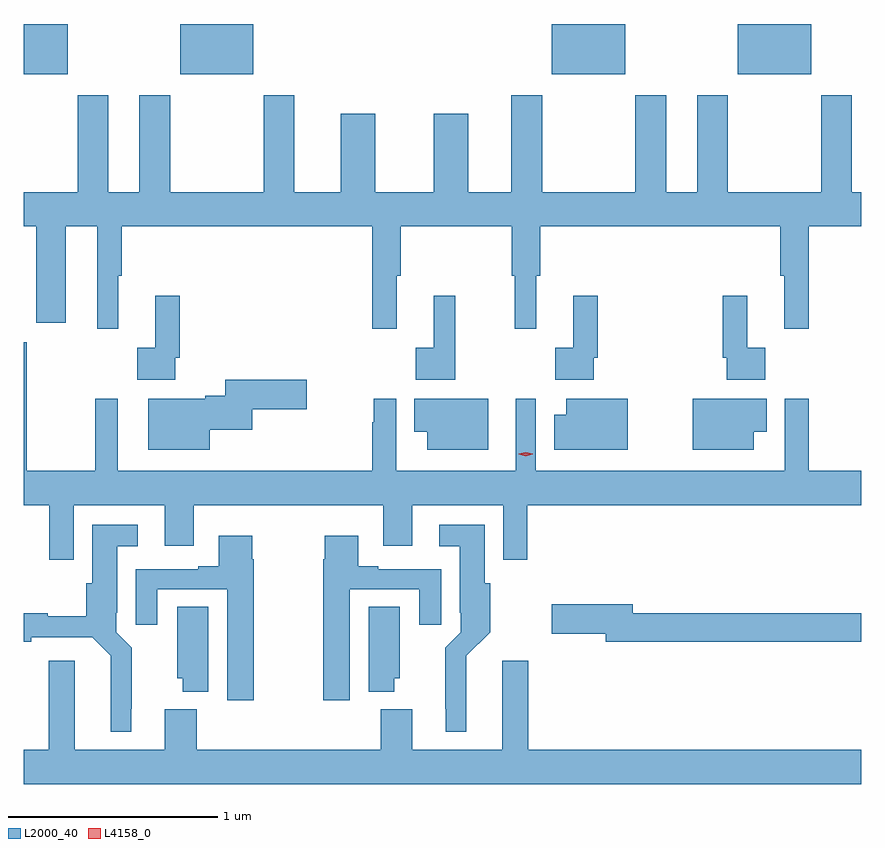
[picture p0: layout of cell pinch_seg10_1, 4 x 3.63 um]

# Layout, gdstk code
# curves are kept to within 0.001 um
import gdstk
lib = gdstk.Library(unit=1e-6, precision=1e-09)
def R(c, l, rs):  # rectangles x0, y0, x1, y1
    for r in rs: c.add(gdstk.rectangle(r[:2], r[2:], *l))
def P(c, l, *ps):  # polygons
    for p in ps: c.add(gdstk.Polygon(p, *l))
L2000_40 = (2000, 40)
L4158_0 = (4158, 0)

pinch_seg10_1 = lib.new_cell('pinch_seg10_1')
R(pinch_seg10_1, L2000_40, [(1136.741,1263.746,1136.95,1263.987), (1137.488,1263.746,1137.838,1263.987), (1139.264,1263.746,1139.614,1263.987), (1140.152,1263.746,1140.502,1263.987)])
P(pinch_seg10_1, L2000_40, [(1137.191,1262.784),(1137.209,1262.784),(1137.209,1263.02),(1138.405,1263.02),(1138.405,1262.532),(1138.523,1262.532),(1138.523,1262.784),(1138.541,1262.784),(1138.541,1263.02),(1139.071,1263.02),(1139.071,1262.784),(1139.086,1262.784),(1139.086,1262.532),(1139.189,1262.532),(1139.189,1262.784),(1139.207,1262.784),(1139.207,1263.02),(1140.355,1263.02),(1140.355,1262.784),(1140.374,1262.784),(1140.374,1262.532),(1140.491,1262.532),(1140.491,1263.02),(1140.741,1263.02),(1140.741,1263.184),(1140.697,1263.184),(1140.697,1263.646),(1140.55,1263.646),(1140.55,1263.184),(1140.105,1263.184),(1140.105,1263.646),(1139.957,1263.646),(1139.957,1263.184),(1139.809,1263.184),(1139.809,1263.646),(1139.662,1263.646),(1139.662,1263.184),(1139.217,1263.184),(1139.217,1263.646),(1139.069,1263.646),(1139.069,1263.184),(1138.864,1263.184),(1138.864,1263.559),(1138.7,1263.559),(1138.7,1263.184),(1138.42,1263.184),(1138.42,1263.559),(1138.256,1263.559),(1138.256,1263.184),(1138.033,1263.184),(1138.033,1263.646),(1137.886,1263.646),(1137.886,1263.184),(1137.441,1263.184),(1137.441,1263.646),(1137.293,1263.646),(1137.293,1263.184),(1137.145,1263.184),(1137.145,1263.646),(1136.998,1263.646),(1136.998,1263.184),(1136.741,1263.184),(1136.741,1263.02),(1136.801,1263.02),(1136.801,1262.559),(1136.941,1262.559),(1136.941,1263.02),(1137.092,1263.02),(1137.092,1262.532),(1137.191,1262.532)],
  [(1140.283,1262.441),(1140.197,1262.441),(1140.197,1262.689),(1140.079,1262.689),(1140.079,1262.392),(1140.099,1262.392),(1140.099,1262.288),(1140.283,1262.288)],
  [(1137.465,1262.392),(1137.485,1262.392),(1137.485,1262.689),(1137.368,1262.689),(1137.368,1262.441),(1137.282,1262.441),(1137.282,1262.288),(1137.465,1262.288)],
  [(1138.802,1262.689),(1138.7,1262.689),(1138.7,1262.441),(1138.614,1262.441),(1138.614,1262.288),(1138.802,1262.288)],
  [(1139.463,1262.392),(1139.483,1262.392),(1139.483,1262.689),(1139.366,1262.689),(1139.366,1262.441),(1139.28,1262.441),(1139.28,1262.288),(1139.463,1262.288)],
  [(1136.979,1261.688),(1137.413,1261.688),(1137.413,1261.494),(1137.553,1261.494),(1137.553,1261.688),(1138.457,1261.688),(1138.457,1261.494),(1138.597,1261.494),(1138.597,1261.688),(1139.031,1261.688),(1139.031,1261.428),(1139.147,1261.428),(1139.147,1261.688),(1140.741,1261.688),(1140.741,1261.852),(1140.491,1261.852),(1140.491,1262.197),(1140.375,1262.197),(1140.375,1261.852),(1139.187,1261.852),(1139.187,1262.197),(1139.09,1262.197),(1139.09,1261.852),(1138.521,1261.852),(1138.521,1262.197),(1138.413,1262.197),(1138.413,1262.084),(1138.405,1262.084),(1138.405,1261.852),(1137.19,1261.852),(1137.19,1262.197),(1137.081,1262.197),(1137.081,1261.852),(1136.755,1261.852),(1136.755,1262.467),(1136.741,1262.467),(1136.741,1261.688),(1136.863,1261.688),(1136.863,1261.428),(1136.979,1261.428)],
  [(1137.628,1262.048),(1137.832,1262.048),(1137.832,1262.146),(1138.093,1262.146),(1138.093,1262.288),(1137.704,1262.288),(1137.704,1262.21),(1137.608,1262.21),(1137.608,1262.197),(1137.335,1262.197),(1137.335,1261.952),(1137.628,1261.952)],
  [(1139.626,1262.197),(1139.333,1262.197),(1139.333,1262.119),(1139.276,1262.119),(1139.276,1261.952),(1139.626,1261.952)],
  [(1138.96,1262.197),(1138.606,1262.197),(1138.606,1262.039),(1138.667,1262.039),(1138.667,1261.952),(1138.96,1261.952)],
  [(1140.229,1262.039),(1140.29,1262.039),(1140.29,1262.197),(1139.936,1262.197),(1139.936,1261.952),(1140.229,1261.952)],
  [(1138.855,1260.968),(1138.968,1261.081),(1138.968,1261.314),(1138.942,1261.314),(1138.942,1261.594),(1138.725,1261.594),(1138.725,1261.493),(1138.823,1261.493),(1138.823,1261.174),(1138.827,1261.174),(1138.827,1261.08),(1138.753,1261.006),(1138.753,1260.715),(1138.757,1260.715),(1138.757,1260.605),(1138.855,1260.605)],
  [(1137.253,1260.715),(1137.257,1260.715),(1137.257,1261.006),(1137.183,1261.08),(1137.183,1261.174),(1137.187,1261.174),(1137.187,1261.493),(1137.286,1261.493),(1137.286,1261.594),(1137.068,1261.594),(1137.068,1261.314),(1137.038,1261.314),(1137.038,1261.157),(1136.854,1261.157),(1136.854,1261.172),(1136.741,1261.172),(1136.741,1261.036),(1136.777,1261.036),(1136.777,1261.056),(1137.068,1261.056),(1137.156,1260.968),(1137.155,1260.605),(1137.253,1260.605)],
  [(1138.297,1261.287),(1138.631,1261.287),(1138.631,1261.116),(1138.735,1261.116),(1138.735,1261.383),(1138.435,1261.383),(1138.435,1261.396),(1138.339,1261.396),(1138.339,1261.543),(1138.178,1261.543),(1138.178,1261.43),(1138.171,1261.43),(1138.171,1260.756),(1138.297,1260.756)],
  [(1137.84,1261.43),(1137.832,1261.43),(1137.832,1261.543),(1137.671,1261.543),(1137.671,1261.396),(1137.575,1261.396),(1137.575,1261.383),(1137.275,1261.383),(1137.275,1261.116),(1137.379,1261.116),(1137.379,1261.287),(1137.713,1261.287),(1137.713,1260.756),(1137.84,1260.756)],
  [(1140.741,1261.172),(1139.65,1261.172),(1139.65,1261.215),(1139.262,1261.215),(1139.262,1261.073),(1139.522,1261.073),(1139.522,1261.036),(1140.741,1261.036)],
  [(1138.51,1260.861),(1138.537,1260.861),(1138.537,1261.202),(1138.388,1261.202),(1138.388,1260.797),(1138.51,1260.797)],
  [(1137.622,1261.202),(1137.473,1261.202),(1137.473,1260.861),(1137.5,1260.861),(1137.5,1260.797),(1137.622,1260.797)],
  [(1140.741,1260.52),(1139.15,1260.52),(1139.15,1260.946),(1139.027,1260.946),(1139.027,1260.52),(1138.597,1260.52),(1138.597,1260.712),(1138.445,1260.712),(1138.445,1260.52),(1137.566,1260.52),(1137.566,1260.712),(1137.413,1260.712),(1137.413,1260.52),(1136.983,1260.52),(1136.983,1260.946),(1136.861,1260.946),(1136.861,1260.52),(1136.741,1260.52),(1136.741,1260.356),(1140.741,1260.356)])
P(pinch_seg10_1, L4158_0, [(1139.139,1261.922),(1139.106,1261.932),(1139.105,1261.932),(1139.106,1261.933),(1139.139,1261.942),(1139.173,1261.933),(1139.173,1261.932),(1139.173,1261.932)])

lib.write_gds('pinch_seg10_1.gds')
